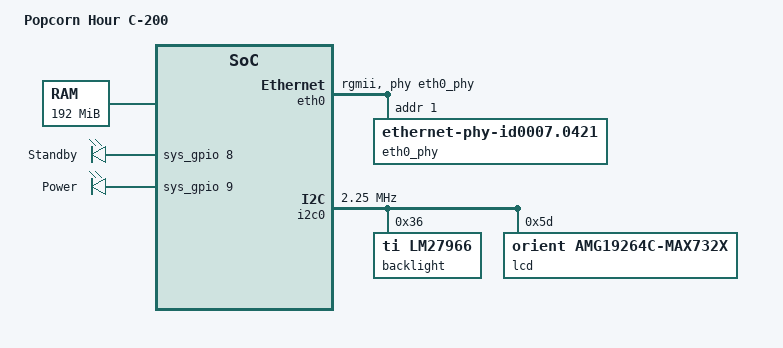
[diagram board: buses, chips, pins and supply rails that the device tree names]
/dts-v1/;

#include "smp8640.dtsi"
#include "smp8640-cpu.dtsi"

/ {
	compatible = "syabas,pch-c200", "sigma,smp8640-soc";
	model = "Popcorn Hour C-200";

	memory@10000000 {
		device_type = "memory";
		reg = <0x10000000 0xc000000>;
	};

	leds {
		compatible = "gpio-leds";

		standby {
			label = "Standby";
			gpios = <&sys_gpio 8 0>;
			default-state = "on";
		};

		power {
			label = "Power";
			gpios = <&sys_gpio 9 0>;
		};
	};
};

&eth0 {
	phy-connection-type = "rgmii";
	phy-handle = <&eth0_phy>;

	eth0_phy: ethernet-phy@1 {
		compatible = "ethernet-phy-id0007.0421",
			     "ethernet-phy-ieee802.3-c22";
		reg = <1>;
		interrupts = <37 IRQ_TYPE_EDGE_RISING>;
	};
};

&i2c0 {
	clock-frequency = <2250000>;

	backlight@36 {
		compatible = "ti,lm27966";
		reg = <0x36>;
		default-power = <1>;
		default-brightness = <7>;
	};

	lcd@5d {
		compatible = "orient,amg19264c-max732x";
		reg = <0x5d>;
		pin-e = <10>;
		pin-rs = <12>;
		pin-cs1 = <13>;
		pin-cs2 = <14>;
		pin-cs3 = <15>;
	};
};
